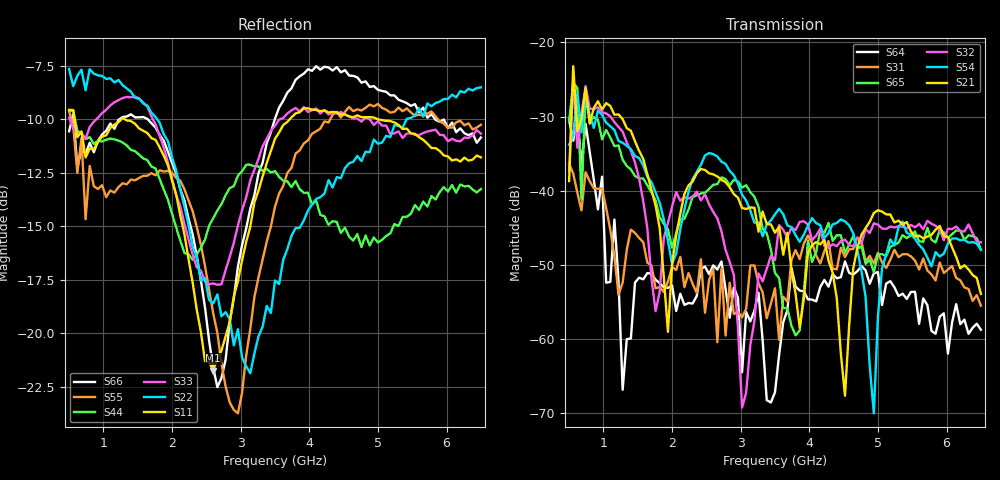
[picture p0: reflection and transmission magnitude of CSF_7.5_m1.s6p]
!Keysight Technologies,M9804A,MY58100912,A.14.10.03
!Date: Thursday, April 27, 2023 10:28:33
!Correction: S11(C  6-Port  )
!S12(C  6-Port  )
!S13(C  6-Port  )
!S14(C  6-Port  )
!S15(C  6-Port  )
!S16(C  6-Port  )
!S21(C  6-Port  )
!S22(C  6-Port  )
!S23(C  6-Port  )
!S24(C  6-Port  )
!S25(C  6-Port  )
!S26(C  6-Port  )
!S31(C  6-Port  )
!S32(C  6-Port  )
!S33(C  6-Port  )
!S34(C  6-Port  )
!S35(C  6-Port  )
!S36(C  6-Port  )
!S41(C  6-Port  )
!S42(C  6-Port  )
!S43(C  6-Port  )
!S44(C  6-Port  )
!S45(C  6-Port  )
!S46(C  6-Port  )
!S51(C  6-Port  )
!S52(C  6-Port  )
!S53(C  6-Port  )
!S54(C  6-Port  )
!S55(C  6-Port  )
!S56(C  6-Port  )
!S61(C  6-Port  )
!S62(C  6-Port  )
!S63(C  6-Port  )
!S64(C  6-Port  )
!S65(C  6-Port  )
!S66(C  6-Port  )
!S6P File: Measurement: :
# Hz S  RI  R 50
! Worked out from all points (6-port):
!   101 points, 500 MHz to 6.5 GHz, reference 50 ohm
!   strongest paths, dB at 500 MHz, 2 GHz, 3.5 GHz, 5 GHz, 6.5 GHz:
!     S21: -38.7, -50.0, -45.7, -42.6, -53.9
!     S54: -33.8, -49.9, -43.2, -56.9, -48.0
!     S32: -37.3, -42.1, -49.3, -44.6, -46.9
!     S65: -30.6, -47.7, -51.1, -48.6, -47.9
!     S31: -36.4, -50.3, -53.1, -48.4, -55.5
!     S64: -30.5, -52.8, -67.2, -51.0, -58.7
!   lowest |S11| = -21.7 dB at 2.6 GHz (marker M1), VSWR 1.18, Z = 42.7 + j2.09 ohm
!   |S11| at or under -10 dB: 580.7 MHz to 1.26 GHz (678.9 MHz wide, 73.8 % of centre); 1.316 GHz to 3.712 GHz (2.397 GHz wide, 95.3 % of centre); 5.008 GHz to end of sweep
